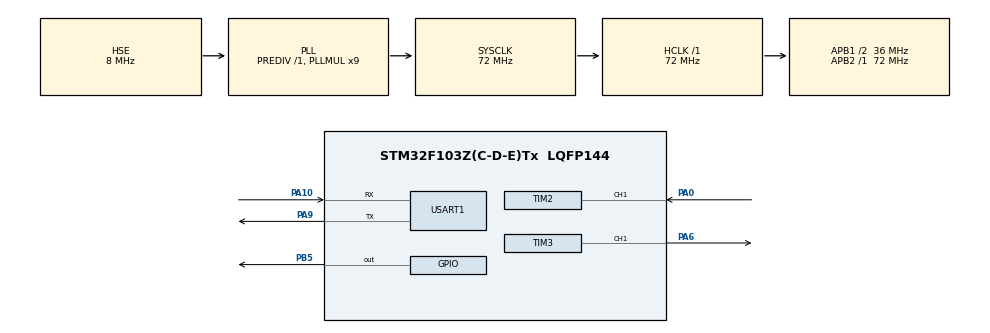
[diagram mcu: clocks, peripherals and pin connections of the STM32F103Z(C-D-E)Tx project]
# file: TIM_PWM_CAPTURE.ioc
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Mcu.Family=STM32F1
Mcu.Name=STM32F103Z(C-D-E)Tx
Mcu.Package=LQFP144
NVIC.PriorityGroup=NVIC_PRIORITYGROUP_4
NVIC.RCC_IRQn=true\:0\:0\:false\:false\:true\:true\:false\:true
NVIC.TIM2_IRQn=true\:3\:0\:true\:false\:true\:true\:true\:true
NVIC.TIM3_IRQn=true\:2\:0\:true\:false\:true\:true\:true\:true
NVIC.USART1_IRQn=true\:0\:0\:false\:false\:true\:true\:true\:true
OSC_IN.Mode=HSE-External-Oscillator
OSC_IN.Signal=RCC_OSC_IN
OSC_OUT.Mode=HSE-External-Oscillator
OSC_OUT.Signal=RCC_OSC_OUT
PA0-WKUP.Signal=S_TIM2_CH1_ETR
PA10.Mode=Asynchronous
PA10.Signal=USART1_RX
PA6.Signal=S_TIM3_CH1
PA9.Mode=Asynchronous
PA9.Signal=USART1_TX
PB5.Signal=GPIO_Output
ProjectManager.HeapSize=0x200
ProjectManager.StackSize=0x400
ProjectManager.TargetToolchain=MDK-ARM V5.32
RCC.AHBFreq_Value=72000000
RCC.APB1CLKDivider=RCC_HCLK_DIV2
RCC.APB1Freq_Value=36000000
RCC.APB1TimFreq_Value=72000000
RCC.APB2Freq_Value=72000000
RCC.APB2TimFreq_Value=72000000
RCC.HCLKFreq_Value=72000000
RCC.PLLMUL=RCC_PLL_MUL9
RCC.PLLSourceVirtual=RCC_PLLSOURCE_HSE
RCC.SYSCLKFreq_VALUE=72000000
RCC.SYSCLKSource=RCC_SYSCLKSOURCE_PLLCLK
RCC.USBFreq_Value=72000000
SH.S_TIM2_CH1_ETR.0=TIM2_CH1,Input_Capture1_from_TI1
SH.S_TIM3_CH1.0=TIM3_CH1,PWM Generation1 CH1
TIM2.AutoReloadPreload=TIM_AUTORELOAD_PRELOAD_ENABLE
TIM2.Channel-Input_Capture1_from_TI1=TIM_CHANNEL_1
TIM2.CounterMode=TIM_COUNTERMODE_UP
TIM2.Period=0xffff
TIM2.Prescaler=71
TIM3.Channel-PWM\ Generation1\ CH1=TIM_CHANNEL_1
TIM3.Period=9
TIM3.Prescaler=99
TIM3.Pulse-PWM\ Generation1\ CH1=5
USART1.VirtualMode=VM_ASYNC
VP_SYS_VS_ND.Mode=No_Debug
VP_TIM2_VS_ClockSourceINT.Mode=Internal
VP_TIM3_VS_ClockSourceINT.Mode=Internal
board=custom

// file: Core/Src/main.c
/* USER CODE BEGIN Header */
/**
  ******************************************************************************
  * @file           : main.c
  * @brief          : Main program body
  ******************************************************************************
  * @attention
  *
  * Copyright (c) 2024 STMicroelectronics.
  * All rights reserved.
  *
  * This software is licensed under terms that can be found in the LICENSE file
  * in the root directory of this software component.
  * If no LICENSE file comes with this software, it is provided AS-IS.
  *
  ******************************************************************************
  */
/* USER CODE END Header */
#include "main.h"

/* USER CODE BEGIN Includes */
#include <stdio.h>

/* USER CODE END Includes */

/* USER CODE BEGIN PTD */
int fputc(int ch,FILE *f);
/* USER CODE END PTD */

TIM_HandleTypeDef htim2;
TIM_HandleTypeDef htim3;

UART_HandleTypeDef huart1;

/* USER CODE BEGIN PV */

uint32_t capture_Buf[3] = {0};	//Capture value
uint8_t capture_Cnt = 0;    		//Status flag
uint8_t overload_Cnt = 0;				//Overload flag
uint32_t high_time;   					//High level time
uint32_t low_time;   						//Low level time
double HL_time;
double LL_time;
double fre;
double duty;

/* USER CODE END PV */

void SystemClock_Config(void);
static void MX_GPIO_Init(void);
static void MX_TIM2_Init(void);
static void MX_TIM3_Init(void);
static void MX_USART1_UART_Init(void);

int main(void)
{
  /* USER CODE BEGIN 1 */

//	uint16_t Duty = 0;
//  uint16_t Step = 1;

  /* USER CODE END 1 */

  /* MCU Configuration--------------------------------------------------------*/

  /* Reset of all peripherals, Initializes the Flash interface and the Systick. */
  HAL_Init();

  /* Configure the system clock */
  SystemClock_Config();

  /* Initialize all configured peripherals */
  MX_GPIO_Init();
  MX_TIM2_Init();
  MX_TIM3_Init();
  MX_USART1_UART_Init();
  /* USER CODE BEGIN 2 */

	HAL_TIM_PWM_Start(&htim3, TIM_CHANNEL_1);
	__HAL_TIM_SET_CAPTUREPOLARITY(&htim2, TIM_CHANNEL_1, TIM_INPUTCHANNELPOLARITY_RISING);	//Set to falling edge capture
	HAL_TIM_IC_Start_IT(&htim2, TIM_CHANNEL_1);	//Start input capture       OR: __HAL_TIM_ENABLE(&htim5);

  /* USER CODE END 2 */

  /* Infinite loop */
  /* USER CODE BEGIN WHILE */
  while (1)
  {
				printf("FREQUENCY: %7.3lfHz, %4.1lf%%, HIGHLEVEL_TIME: %7.3lfms, LOWLEVEL_TIME: %7.3lf ms\r\n\r\n", fre, duty, HL_time, LL_time);	//Send data
		HAL_Delay(2000);
    /* USER CODE END WHILE */

  }
}

void SystemClock_Config(void)
{
  RCC_OscInitTypeDef RCC_OscInitStruct = {0};
  RCC_ClkInitTypeDef RCC_ClkInitStruct = {0};

  /** Initializes the RCC Oscillators according to the specified parameters
  * in the RCC_OscInitTypeDef structure.
  */
  RCC_OscInitStruct.OscillatorType = RCC_OSCILLATORTYPE_HSE;
  RCC_OscInitStruct.HSEState = RCC_HSE_ON;
  RCC_OscInitStruct.HSEPredivValue = RCC_HSE_PREDIV_DIV1;
  RCC_OscInitStruct.HSIState = RCC_HSI_ON;
  RCC_OscInitStruct.PLL.PLLState = RCC_PLL_ON;
  RCC_OscInitStruct.PLL.PLLSource = RCC_PLLSOURCE_HSE;
  RCC_OscInitStruct.PLL.PLLMUL = RCC_PLL_MUL9;
  if (HAL_RCC_OscConfig(&RCC_OscInitStruct) != HAL_OK)
  {
    Error_Handler();
  }

  /** Initializes the CPU, AHB and APB buses clocks
  */
  RCC_ClkInitStruct.ClockType = RCC_CLOCKTYPE_HCLK|RCC_CLOCKTYPE_SYSCLK
                              |RCC_CLOCKTYPE_PCLK1|RCC_CLOCKTYPE_PCLK2;
  RCC_ClkInitStruct.SYSCLKSource = RCC_SYSCLKSOURCE_PLLCLK;
  RCC_ClkInitStruct.AHBCLKDivider = RCC_SYSCLK_DIV1;
  RCC_ClkInitStruct.APB1CLKDivider = RCC_HCLK_DIV2;
  RCC_ClkInitStruct.APB2CLKDivider = RCC_HCLK_DIV1;

  if (HAL_RCC_ClockConfig(&RCC_ClkInitStruct, FLASH_LATENCY_2) != HAL_OK)
  {
    Error_Handler();
  }
}

static void MX_TIM2_Init(void)
{

  TIM_ClockConfigTypeDef sClockSourceConfig = {0};
  TIM_MasterConfigTypeDef sMasterConfig = {0};
  TIM_IC_InitTypeDef sConfigIC = {0};

  htim2.Instance = TIM2;
  htim2.Init.Prescaler = 71;
  htim2.Init.CounterMode = TIM_COUNTERMODE_UP;
  htim2.Init.Period = 0xffff;
  htim2.Init.ClockDivision = TIM_CLOCKDIVISION_DIV1;
  htim2.Init.AutoReloadPreload = TIM_AUTORELOAD_PRELOAD_ENABLE;
  if (HAL_TIM_Base_Init(&htim2) != HAL_OK)
  {
    Error_Handler();
  }
  sClockSourceConfig.ClockSource = TIM_CLOCKSOURCE_INTERNAL;
  if (HAL_TIM_ConfigClockSource(&htim2, &sClockSourceConfig) != HAL_OK)
  {
    Error_Handler();
  }
  if (HAL_TIM_IC_Init(&htim2) != HAL_OK)
  {
    Error_Handler();
  }
  sMasterConfig.MasterOutputTrigger = TIM_TRGO_RESET;
  sMasterConfig.MasterSlaveMode = TIM_MASTERSLAVEMODE_DISABLE;
  if (HAL_TIMEx_MasterConfigSynchronization(&htim2, &sMasterConfig) != HAL_OK)
  {
    Error_Handler();
  }
  sConfigIC.ICPolarity = TIM_INPUTCHANNELPOLARITY_RISING;
  sConfigIC.ICSelection = TIM_ICSELECTION_DIRECTTI;
  sConfigIC.ICPrescaler = TIM_ICPSC_DIV1;
  sConfigIC.ICFilter = 0;
  if (HAL_TIM_IC_ConfigChannel(&htim2, &sConfigIC, TIM_CHANNEL_1) != HAL_OK)
  {
    Error_Handler();
  }

}

static void MX_TIM3_Init(void)
{

  TIM_ClockConfigTypeDef sClockSourceConfig = {0};
  TIM_MasterConfigTypeDef sMasterConfig = {0};
  TIM_OC_InitTypeDef sConfigOC = {0};

  htim3.Instance = TIM3;
  htim3.Init.Prescaler = 99;
  htim3.Init.CounterMode = TIM_COUNTERMODE_UP;
  htim3.Init.Period = 9;
  htim3.Init.ClockDivision = TIM_CLOCKDIVISION_DIV1;
  htim3.Init.AutoReloadPreload = TIM_AUTORELOAD_PRELOAD_DISABLE;
  if (HAL_TIM_Base_Init(&htim3) != HAL_OK)
  {
    Error_Handler();
  }
  sClockSourceConfig.ClockSource = TIM_CLOCKSOURCE_INTERNAL;
  if (HAL_TIM_ConfigClockSource(&htim3, &sClockSourceConfig) != HAL_OK)
  {
    Error_Handler();
  }
  if (HAL_TIM_PWM_Init(&htim3) != HAL_OK)
  {
    Error_Handler();
  }
  sMasterConfig.MasterOutputTrigger = TIM_TRGO_RESET;
  sMasterConfig.MasterSlaveMode = TIM_MASTERSLAVEMODE_DISABLE;
  if (HAL_TIMEx_MasterConfigSynchronization(&htim3, &sMasterConfig) != HAL_OK)
  {
    Error_Handler();
  }
  sConfigOC.OCMode = TIM_OCMODE_PWM1;
  sConfigOC.Pulse = 5;
  sConfigOC.OCPolarity = TIM_OCPOLARITY_HIGH;
  sConfigOC.OCFastMode = TIM_OCFAST_DISABLE;
  if (HAL_TIM_PWM_ConfigChannel(&htim3, &sConfigOC, TIM_CHANNEL_1) != HAL_OK)
  {
    Error_Handler();
  }
  HAL_TIM_MspPostInit(&htim3);

}

static void MX_USART1_UART_Init(void)
{

  huart1.Instance = USART1;
  huart1.Init.BaudRate = 115200;
  huart1.Init.WordLength = UART_WORDLENGTH_8B;
  huart1.Init.StopBits = UART_STOPBITS_1;
  huart1.Init.Parity = UART_PARITY_NONE;
  huart1.Init.Mode = UART_MODE_TX_RX;
  huart1.Init.HwFlowCtl = UART_HWCONTROL_NONE;
  huart1.Init.OverSampling = UART_OVERSAMPLING_16;
  if (HAL_UART_Init(&huart1) != HAL_OK)
  {
    Error_Handler();
  }

}

static void MX_GPIO_Init(void)
{
  GPIO_InitTypeDef GPIO_InitStruct = {0};

  /* GPIO Ports Clock Enable */
  __HAL_RCC_GPIOA_CLK_ENABLE();
  __HAL_RCC_GPIOB_CLK_ENABLE();

  /*Configure GPIO pin Output Level */
  HAL_GPIO_WritePin(GPIOB, GPIO_PIN_5, GPIO_PIN_RESET);

  /*Configure GPIO pin : PB5 */
  GPIO_InitStruct.Pin = GPIO_PIN_5;
  GPIO_InitStruct.Mode = GPIO_MODE_OUTPUT_PP;
  GPIO_InitStruct.Pull = GPIO_NOPULL;
  GPIO_InitStruct.Speed = GPIO_SPEED_FREQ_LOW;
  HAL_GPIO_Init(GPIOB, &GPIO_InitStruct);

}

/* USER CODE BEGIN 4 */

int fputc(int ch,FILE *f)

{

	HAL_UART_Transmit(&huart1,(uint8_t *)&ch,1,HAL_MAX_DELAY);

	return ch;

}

/**
  * @brief TIM2 Period Interupt Callback Function
  * @param htim
  * @retval None
  */
void HAL_TIM_PeriodElapsedCallback(TIM_HandleTypeDef *htim)
{
	if (htim->Instance == htim2.Instance)
	{
		overload_Cnt++;
	}
}

/**
  * @brief TIM2 Capture Interupt Callback Function
  * @param htim
  * @retval None
  */
void HAL_TIM_IC_CaptureCallback(TIM_HandleTypeDef *htim)
{

	if (htim->Instance == htim2.Instance)
	{
		switch(capture_Cnt){
			case 0:
				capture_Buf[0] = HAL_TIM_ReadCapturedValue(&htim2,TIM_CHANNEL_1);						//Get capture value now
				__HAL_TIM_SET_CAPTUREPOLARITY(&htim2,TIM_CHANNEL_1,TIM_ICPOLARITY_FALLING);	//Set to falling edge capture
				capture_Cnt++;
				break;
			case 1:
				capture_Buf[1] = HAL_TIM_ReadCapturedValue(&htim2,TIM_CHANNEL_1);						//Get capture value now
				__HAL_TIM_SET_CAPTUREPOLARITY(&htim2,TIM_CHANNEL_1,TIM_ICPOLARITY_RISING);  //Set to rising edge capture
				capture_Cnt++;
				break;
			case 2:
				capture_Buf[2] = HAL_TIM_ReadCapturedValue(&htim2,TIM_CHANNEL_1);						//Get capture value now
				HAL_TIM_IC_Stop_IT(&htim2,TIM_CHANNEL_1); 			//Stop input capture    OR: __HAL_TIM_DISABLE(&htim5);
				high_time = capture_Buf[1] - capture_Buf[0] + overload_Cnt * 0xFFFF;    //high level time
				low_time = capture_Buf[2] - capture_Buf[1] + overload_Cnt * 0xFFFF;			//low level time
				HL_time = high_time * 0.001;
				LL_time = low_time * 0.001;
				fre = 1/(HL_time + LL_time) * 1000;
				duty = HL_time/(HL_time + LL_time) * 100;
				capture_Cnt = 0;  //Clear the flag
				overload_Cnt = 0; //Clear the overload flag
				__HAL_TIM_SET_CAPTUREPOLARITY(&htim2, TIM_CHANNEL_1, TIM_INPUTCHANNELPOLARITY_RISING);
				HAL_TIM_IC_Start_IT(&htim2, TIM_CHANNEL_1);			//Start input capture       OR: __HAL_TIM_ENABLE(&htim5);
				break;
		}

	}

}

/* USER CODE END 4 */

void Error_Handler(void)
{
  __disable_irq();
  while (1)
  {
  }
}
